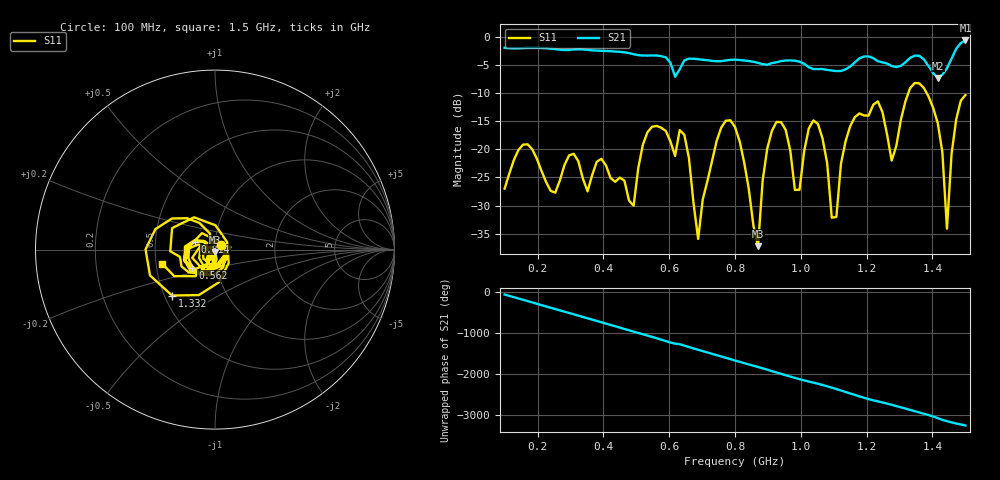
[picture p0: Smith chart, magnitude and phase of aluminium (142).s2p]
! NanoVNA-App
! Date: 2025-09-25 14:56:23
! Start: 100MHz Stop: 1,5GHz Points: 101
! S-Parameter data: F S11 S21 S12 S22
# Hz S RI R 50
!  Frequency  S11_Real  S11_Imag  S21_Real  S21_Imag  S12_Real  S12_Imag  S22_Real  S22_Imag
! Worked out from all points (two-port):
!   101 points, 100 MHz to 1.5 GHz, reference 50 ohm
!   highest |S21| = -0.62 dB at 1.5 GHz (marker M1); lowest = -7.3 dB at 1.416 GHz (marker M2)
!   |S21| within 3 dB of the highest: start of sweep to 588.7 MHz; 1.46 GHz to end of sweep (the widest 2 of 4)
!   lowest |S11| = -37.2 dB at 870 MHz (marker M3), VSWR 1.03, Z = 49.8 - j1.36 ohm
!   |S11| at or under -10 dB: start of sweep to 1.327 GHz; 1.383 GHz to end of sweep
!   S12 and S22 are empty: the file has one direction only
!   S11 on the Smith chart (normalised r, x): 100 MHz: 1.07, +0.06; 562 MHz: 0.76, -0.16; 814 MHz: 0.80, +0.07; 1.332 GHz: 0.55, -0.32; 1.5 GHz: 0.54, -0.09
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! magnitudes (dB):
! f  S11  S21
! 100 MHz  -27.0  -1.9
! 338 MHz  -25.2  -2.2
! 492 MHz  -30.0  -3.1
! 562 MHz  -15.8  -3.3
! 576 MHz  -16.2  -3.4
! 646 MHz  -17.4  -4.2
! 688 MHz  -35.9  -4.0
! 800 MHz  -16.0  -4.0
! 814 MHz  -18.5  -4.1
! 870 MHz  -37.2  -4.6
! 912 MHz  -16.7  -4.6
! 996 MHz  -27.2  -4.4
! 1.038 GHz  -14.8  -5.7
! 1.094 GHz  -32.2  -6.0
! 1.164 GHz  -14.3  -4.5
! 1.234 GHz  -11.5  -4.3
! 1.276 GHz  -22.0  -5.2
! 1.332 GHz  -9.1  -3.7
! 1.416 GHz  -15.3  -7.3
! 1.444 GHz  -34.1  -5.6
! 1.472 GHz  -14.7  -2.1
! 1.5 GHz  -10.3  -0.6
